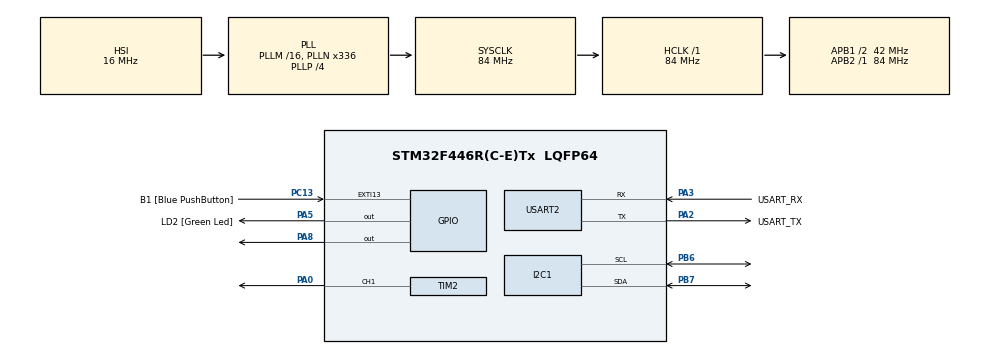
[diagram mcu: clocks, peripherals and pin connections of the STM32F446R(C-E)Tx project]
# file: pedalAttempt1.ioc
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I2C1.I2C_Mode=I2C_Fast
Mcu.Family=STM32F4
Mcu.Name=STM32F446R(C-E)Tx
Mcu.Package=LQFP64
NVIC.PriorityGroup=NVIC_PRIORITYGROUP_0
PA0-WKUP.Signal=S_TIM2_CH1_ETR
PA13.GPIO_Label=TMS
PA13.Mode=Serial_Wire
PA13.Signal=SYS_JTMS-SWDIO
PA14.GPIO_Label=TCK
PA14.Mode=Serial_Wire
PA14.Signal=SYS_JTCK-SWCLK
PA2.GPIO_Label=USART_TX
PA2.Mode=Asynchronous
PA2.Signal=USART2_TX
PA3.GPIO_Label=USART_RX
PA3.Mode=Asynchronous
PA3.Signal=USART2_RX
PA5.GPIO_Label=LD2 [Green Led]
PA5.Signal=GPIO_Output
PA8.Signal=GPIO_Output
PB3.GPIO_Label=SWO
PB3.Signal=SYS_JTDO-SWO
PB6.Mode=I2C
PB6.Signal=I2C1_SCL
PB7.Mode=I2C
PB7.Signal=I2C1_SDA
PC13.GPIO_Label=B1 [Blue PushButton]
PC13.GPIO_ModeDefaultEXTI=GPIO_MODE_IT_FALLING
PC13.Signal=GPXTI13
PC14-OSC32_IN.Mode=LSE-External-Oscillator
PC14-OSC32_IN.Signal=RCC_OSC32_IN
PC15-OSC32_OUT.Mode=LSE-External-Oscillator
PC15-OSC32_OUT.Signal=RCC_OSC32_OUT
PH0-OSC_IN.Mode=HSE-External-Oscillator
PH0-OSC_IN.Signal=RCC_OSC_IN
PH1-OSC_OUT.Mode=HSE-External-Oscillator
PH1-OSC_OUT.Signal=RCC_OSC_OUT
ProjectManager.HeapSize=0x200
ProjectManager.StackSize=0x400
ProjectManager.TargetToolchain=STM32CubeIDE
RCC.48MHZClocksFreq_Value=84000000
RCC.AHBFreq_Value=84000000
RCC.APB1CLKDivider=RCC_HCLK_DIV2
RCC.APB1Freq_Value=42000000
RCC.APB1TimFreq_Value=84000000
RCC.APB2Freq_Value=84000000
RCC.APB2TimFreq_Value=84000000
RCC.CortexFreq_Value=84000000
RCC.FLatency-AdvancedSettings=FLASH_LATENCY_2
RCC.HCLKFreq_Value=84000000
RCC.HSE_VALUE=8000000
RCC.HSI_VALUE=16000000
RCC.PLLN=336
RCC.PLLP=RCC_PLLP_DIV4
RCC.SYSCLKFreq_VALUE=84000000
RCC.SYSCLKSource=RCC_SYSCLKSOURCE_PLLCLK
RCC.USBFreq_Value=168000000
RCC.VCOOutputFreq_Value=336000000
SH.S_TIM2_CH1_ETR.0=TIM2_CH1,PWM Generation1 CH1
TIM2.AutoReloadPreload=TIM_AUTORELOAD_PRELOAD_ENABLE
TIM2.Channel-PWM\ Generation1\ CH1=TIM_CHANNEL_1
TIM2.Period=255
TIM2.Pulse-PWM\ Generation1\ CH1=125
USART2.VirtualMode=VM_ASYNC
VP_TIM2_VS_ClockSourceINT.Mode=Internal
board=NUCLEO-F446RE

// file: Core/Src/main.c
/* USER CODE BEGIN Header */
/**
  ******************************************************************************
  * @file           : main.c
  * @brief          : Main program body
  ******************************************************************************
  * @attention
  *
  * Copyright (c) 2024 STMicroelectronics.
  * All rights reserved.
  *
  * This software is licensed under terms that can be found in the LICENSE file
  * in the root directory of this software component.
  * If no LICENSE file comes with this software, it is provided AS-IS.
  *
  ******************************************************************************
  */
/* USER CODE END Header */
#include "main.h"

/* USER CODE BEGIN Includes */
#include "fonts.h"
#include "ssd1306.h"
/* USER CODE END Includes */

I2C_HandleTypeDef hi2c1;

TIM_HandleTypeDef htim2;

UART_HandleTypeDef huart2;

void SystemClock_Config(void);
static void MX_GPIO_Init(void);
static void MX_USART2_UART_Init(void);
static void MX_TIM2_Init(void);
static void MX_I2C1_Init(void);

int main(void)
{

  /* MCU Configuration--------------------------------------------------------*/

  /* Reset of all peripherals, Initializes the Flash interface and the Systick. */
  HAL_Init();

  /* Configure the system clock */
  SystemClock_Config();

  /* Initialize all configured peripherals */
  MX_GPIO_Init();
  MX_USART2_UART_Init();
  MX_TIM2_Init();
  MX_I2C1_Init();
  /* USER CODE BEGIN 2 */
//  HAL_TIM_PWM_Start(&htim2, TIM_CHANNEL_1);
//  int pulse=0;

  SSD1306_Init();
    char snum[5];

    SSD1306_GotoXY (0,0);
    SSD1306_Puts ("ALEXA", &Font_11x18, 1);
    SSD1306_GotoXY (0, 30);
    SSD1306_Puts ("KHARSHILA", &Font_11x18, 1);
    SSD1306_UpdateScreen();
    HAL_Delay (1000);

    SSD1306_ScrollRight(0,7);
    HAL_Delay(3000);
    SSD1306_ScrollLeft(0,7);
    HAL_Delay(3000);
    SSD1306_Stopscroll();
    SSD1306_Clear();
    SSD1306_GotoXY (35,0);
    SSD1306_Puts ("SCORE", &Font_11x18, 1);
  /* USER CODE END 2 */

  /* Infinite loop */
  /* USER CODE BEGIN WHILE */
  while (1)
  {
//	  HAL_GPIO_WritePin(GPIOA, GPIO_PIN_8, 1);
//	  HAL_GPIO_WritePin(GPIOA, GPIO_PIN_5, 1);
//      HAL_Delay(500);
//      HAL_GPIO_WritePin(GPIOA, GPIO_PIN_5, 0);
//	  HAL_GPIO_WritePin(GPIOA, GPIO_PIN_8, 0);
//	  HAL_Delay(500);
//      pulse++;
//      if(pulse/256==1)pulse=0;
//      __HAL_TIM_SET_COMPARE(&htim2,TIM_CHANNEL_1,pulse);
//
//      HAL_Delay(10);

      for ( int x = 1; x <= 10000 ; x++ )
      	{
      		itoa(x, snum, 10);
      		SSD1306_GotoXY (0, 30);
      		SSD1306_Puts ("             ", &Font_16x26, 1);
      		SSD1306_UpdateScreen();
      		if(x < 10) {
      			SSD1306_GotoXY (53, 30);  // 1 DIGIT
      		}
      		else if (x < 100 ) {
      			SSD1306_GotoXY (45, 30);  // 2 DIGITS
      		}
      		else if (x < 1000 ) {
      			SSD1306_GotoXY (37, 30);  // 3 DIGITS
      		}
      		else {
      			SSD1306_GotoXY (30, 30);  // 4 DIGIS
      		}
      		SSD1306_Puts (snum, &Font_16x26, 1);
      		SSD1306_UpdateScreen();
      		HAL_Delay (500);
      	    }

    /* USER CODE END WHILE */

  }
}

void SystemClock_Config(void)
{
  RCC_OscInitTypeDef RCC_OscInitStruct = {0};
  RCC_ClkInitTypeDef RCC_ClkInitStruct = {0};

  /** Configure the main internal regulator output voltage
  */
  __HAL_RCC_PWR_CLK_ENABLE();
  __HAL_PWR_VOLTAGESCALING_CONFIG(PWR_REGULATOR_VOLTAGE_SCALE3);

  /** Initializes the RCC Oscillators according to the specified parameters
  * in the RCC_OscInitTypeDef structure.
  */
  RCC_OscInitStruct.OscillatorType = RCC_OSCILLATORTYPE_HSI;
  RCC_OscInitStruct.HSIState = RCC_HSI_ON;
  RCC_OscInitStruct.HSICalibrationValue = RCC_HSICALIBRATION_DEFAULT;
  RCC_OscInitStruct.PLL.PLLState = RCC_PLL_ON;
  RCC_OscInitStruct.PLL.PLLSource = RCC_PLLSOURCE_HSI;
  RCC_OscInitStruct.PLL.PLLM = 16;
  RCC_OscInitStruct.PLL.PLLN = 336;
  RCC_OscInitStruct.PLL.PLLP = RCC_PLLP_DIV4;
  RCC_OscInitStruct.PLL.PLLQ = 2;
  RCC_OscInitStruct.PLL.PLLR = 2;
  if (HAL_RCC_OscConfig(&RCC_OscInitStruct) != HAL_OK)
  {
    Error_Handler();
  }

  /** Initializes the CPU, AHB and APB buses clocks
  */
  RCC_ClkInitStruct.ClockType = RCC_CLOCKTYPE_HCLK|RCC_CLOCKTYPE_SYSCLK
                              |RCC_CLOCKTYPE_PCLK1|RCC_CLOCKTYPE_PCLK2;
  RCC_ClkInitStruct.SYSCLKSource = RCC_SYSCLKSOURCE_PLLCLK;
  RCC_ClkInitStruct.AHBCLKDivider = RCC_SYSCLK_DIV1;
  RCC_ClkInitStruct.APB1CLKDivider = RCC_HCLK_DIV2;
  RCC_ClkInitStruct.APB2CLKDivider = RCC_HCLK_DIV1;

  if (HAL_RCC_ClockConfig(&RCC_ClkInitStruct, FLASH_LATENCY_2) != HAL_OK)
  {
    Error_Handler();
  }
}

static void MX_I2C1_Init(void)
{

  hi2c1.Instance = I2C1;
  hi2c1.Init.ClockSpeed = 400000;
  hi2c1.Init.DutyCycle = I2C_DUTYCYCLE_2;
  hi2c1.Init.OwnAddress1 = 0;
  hi2c1.Init.AddressingMode = I2C_ADDRESSINGMODE_7BIT;
  hi2c1.Init.DualAddressMode = I2C_DUALADDRESS_DISABLE;
  hi2c1.Init.OwnAddress2 = 0;
  hi2c1.Init.GeneralCallMode = I2C_GENERALCALL_DISABLE;
  hi2c1.Init.NoStretchMode = I2C_NOSTRETCH_DISABLE;
  if (HAL_I2C_Init(&hi2c1) != HAL_OK)
  {
    Error_Handler();
  }

}

static void MX_TIM2_Init(void)
{

  TIM_ClockConfigTypeDef sClockSourceConfig = {0};
  TIM_MasterConfigTypeDef sMasterConfig = {0};
  TIM_OC_InitTypeDef sConfigOC = {0};

  htim2.Instance = TIM2;
  htim2.Init.Prescaler = 0;
  htim2.Init.CounterMode = TIM_COUNTERMODE_UP;
  htim2.Init.Period = 255;
  htim2.Init.ClockDivision = TIM_CLOCKDIVISION_DIV1;
  htim2.Init.AutoReloadPreload = TIM_AUTORELOAD_PRELOAD_ENABLE;
  if (HAL_TIM_Base_Init(&htim2) != HAL_OK)
  {
    Error_Handler();
  }
  sClockSourceConfig.ClockSource = TIM_CLOCKSOURCE_INTERNAL;
  if (HAL_TIM_ConfigClockSource(&htim2, &sClockSourceConfig) != HAL_OK)
  {
    Error_Handler();
  }
  if (HAL_TIM_PWM_Init(&htim2) != HAL_OK)
  {
    Error_Handler();
  }
  sMasterConfig.MasterOutputTrigger = TIM_TRGO_RESET;
  sMasterConfig.MasterSlaveMode = TIM_MASTERSLAVEMODE_DISABLE;
  if (HAL_TIMEx_MasterConfigSynchronization(&htim2, &sMasterConfig) != HAL_OK)
  {
    Error_Handler();
  }
  sConfigOC.OCMode = TIM_OCMODE_PWM1;
  sConfigOC.Pulse = 125;
  sConfigOC.OCPolarity = TIM_OCPOLARITY_HIGH;
  sConfigOC.OCFastMode = TIM_OCFAST_DISABLE;
  if (HAL_TIM_PWM_ConfigChannel(&htim2, &sConfigOC, TIM_CHANNEL_1) != HAL_OK)
  {
    Error_Handler();
  }
  HAL_TIM_MspPostInit(&htim2);

}

static void MX_USART2_UART_Init(void)
{

  huart2.Instance = USART2;
  huart2.Init.BaudRate = 115200;
  huart2.Init.WordLength = UART_WORDLENGTH_8B;
  huart2.Init.StopBits = UART_STOPBITS_1;
  huart2.Init.Parity = UART_PARITY_NONE;
  huart2.Init.Mode = UART_MODE_TX_RX;
  huart2.Init.HwFlowCtl = UART_HWCONTROL_NONE;
  huart2.Init.OverSampling = UART_OVERSAMPLING_16;
  if (HAL_UART_Init(&huart2) != HAL_OK)
  {
    Error_Handler();
  }

}

static void MX_GPIO_Init(void)
{
  GPIO_InitTypeDef GPIO_InitStruct = {0};

  /* GPIO Ports Clock Enable */
  __HAL_RCC_GPIOC_CLK_ENABLE();
  __HAL_RCC_GPIOH_CLK_ENABLE();
  __HAL_RCC_GPIOA_CLK_ENABLE();
  __HAL_RCC_GPIOB_CLK_ENABLE();

  /*Configure GPIO pin Output Level */
  HAL_GPIO_WritePin(GPIOA, LD2_Pin|GPIO_PIN_8, GPIO_PIN_RESET);

  /*Configure GPIO pin : B1_Pin */
  GPIO_InitStruct.Pin = B1_Pin;
  GPIO_InitStruct.Mode = GPIO_MODE_IT_FALLING;
  GPIO_InitStruct.Pull = GPIO_NOPULL;
  HAL_GPIO_Init(B1_GPIO_Port, &GPIO_InitStruct);

  /*Configure GPIO pins : LD2_Pin PA8 */
  GPIO_InitStruct.Pin = LD2_Pin|GPIO_PIN_8;
  GPIO_InitStruct.Mode = GPIO_MODE_OUTPUT_PP;
  GPIO_InitStruct.Pull = GPIO_NOPULL;
  GPIO_InitStruct.Speed = GPIO_SPEED_FREQ_LOW;
  HAL_GPIO_Init(GPIOA, &GPIO_InitStruct);

}

void Error_Handler(void)
{
  __disable_irq();
  while (1)
  {
  }
}
